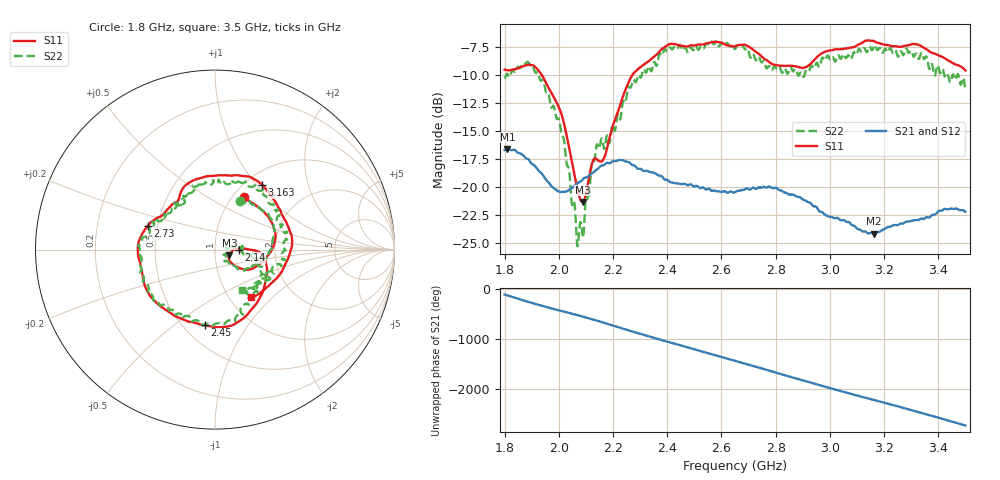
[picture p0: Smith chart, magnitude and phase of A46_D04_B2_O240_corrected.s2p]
! Created with skrf 1.9.0 (http://scikit-rf.org).
# Hz S RI R 50.0
!freq ReS11 ImS11 ReS21 ImS21 ReS12 ImS12 ReS22 ImS22
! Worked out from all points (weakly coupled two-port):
!   1601 points, 1.8 GHz to 3.5 GHz, reference 50 ohm
!   highest |S21| = -16.62 dB at 1.811 GHz (marker M1); lowest = -24.1 dB at 3.162 GHz (marker M2)
!   lowest |S11| = -21.3 dB at 2.088 GHz (marker M3), VSWR 1.19, Z = 58.6 - j3.67 ohm
!   |S11| at or under -10 dB: 1.937 GHz to 2.272 GHz (334.9 MHz wide, 15.9 % of centre)
!   |S22| runs from -25.3 to -7.0 dB; largest |S21 - S12| = 0.0023
!   S11 on the Smith chart (normalised r, x): 1.8 GHz: 1.13, +0.74; 2.14 GHz: 1.31, -0.01; 2.45 GHz: 0.63, -0.65; 2.73 GHz: 0.44, +0.14; 3.163 GHz: 1.19, +1.07; 3.5 GHz: 1.25, -0.74
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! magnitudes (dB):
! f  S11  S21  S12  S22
! 1.8 GHz  -9.5  -16.7  -16.7  -10.3
! 1.811 GHz  -9.6  -16.6  -16.6  -9.9
! 1.883 GHz  -9.1  -17.5  -17.5  -8.9
! 1.942 GHz  -10.2  -19.0  -19.0  -10.5
! 2.01 GHz  -13.5  -20.4  -20.4  -15.3
! 2.067 GHz  -20.0  -19.7  -19.7  -24.8
! 2.084 GHz  -21.3  -19.5  -19.4  -23.4
! 2.088 GHz  -21.3  -19.4  -19.4  -24.4
! 2.14 GHz  -17.5  -18.4  -18.4  -16.2
! 2.168 GHz  -17.4  -18.0  -18.0  -16.6
! 2.268 GHz  -10.2  -18.0  -17.9  -11.0
! 2.367 GHz  -8.0  -19.0  -18.9  -8.5
! 2.45 GHz  -7.4  -19.7  -19.7  -7.5
! 2.65 GHz  -7.5  -20.5  -20.4  -7.7
! 2.73 GHz  -8.0  -20.1  -20.2  -8.7
! 2.804 GHz  -9.2  -20.1  -20.1  -9.5
! 2.934 GHz  -8.9  -21.6  -21.5  -9.2
! 3.162 GHz  -7.0  -24.1  -24.1  -7.5
! 3.163 GHz  -7.0  -24.1  -24.1  -7.4
! 3.217 GHz  -7.4  -23.5  -23.5  -7.8
! 3.342 GHz  -7.5  -22.8  -22.8  -8.2
! 3.5 GHz  -9.6  -22.2  -22.2  -11.4
